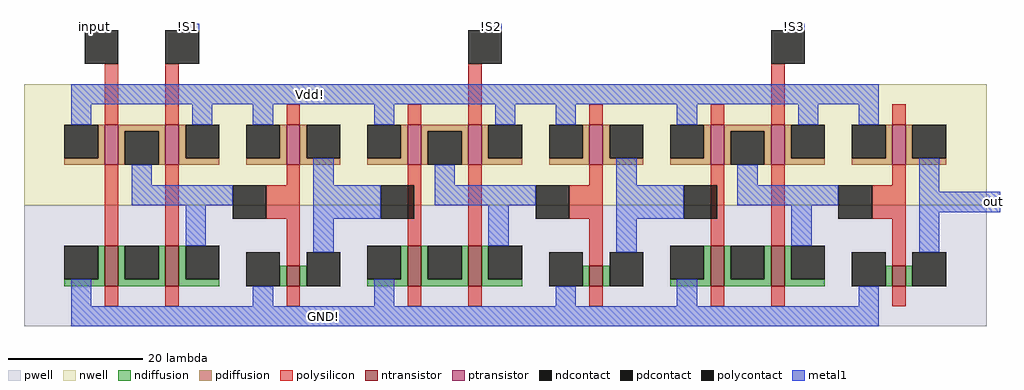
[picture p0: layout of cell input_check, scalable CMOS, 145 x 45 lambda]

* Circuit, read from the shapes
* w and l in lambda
.subckt input_check !S1 !S2 !S3 GND! Vdd! input out
M1 n1 input GND! VSUBS nfet w=6 l=2
M2 n2 !S1 n1 VSUBS nfet w=6 l=2
M3 n3 n2 GND! VSUBS nfet w=3 l=2
M4 n4 n3 GND! VSUBS nfet w=6 l=2
M5 n5 !S2 n4 VSUBS nfet w=6 l=2
M6 n6 n5 GND! VSUBS nfet w=3 l=2
M7 n7 n6 GND! VSUBS nfet w=6 l=2
M8 n8 !S3 n7 VSUBS nfet w=6 l=2
M9 out n8 GND! VSUBS nfet w=3 l=2
M10 n2 input Vdd! n9 pfet w=6 l=2
M11 Vdd! !S1 n2 n9 pfet w=6 l=2
M12 n3 n2 Vdd! n9 pfet w=6 l=2
M13 n5 n3 Vdd! n9 pfet w=6 l=2
M14 Vdd! !S2 n5 n9 pfet w=6 l=2
M15 n6 n5 Vdd! n9 pfet w=6 l=2
M16 n8 n6 Vdd! n9 pfet w=6 l=2
M17 Vdd! !S3 n8 n9 pfet w=6 l=2
M18 out n8 Vdd! n9 pfet w=6 l=2
.ends

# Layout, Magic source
magic
tech scmos
<< nwell >>
rect 31 33 40 36
<< pwell >>
rect 33 0 40 3
<< polysilicon >>
rect 12 30 14 39
rect 21 30 23 39
rect 66 30 68 39
rect 111 30 113 39
<< polycontact >>
rect 9 39 14 44
rect 21 39 26 44
rect 66 39 71 44
rect 111 39 116 44
rect 53 16 58 21
rect 98 16 103 21
<< metal1 >>
rect 9 44 12 45
rect 23 44 26 45
rect 68 44 71 45
rect 113 44 116 45
rect 31 33 106 36
rect 45 16 53 21
rect 91 16 98 21
rect 135 17 145 20
rect 33 0 110 3
use AND2  AND2_0
transform 1 0 7 0 1 10
box -7 -10 46 26
use AND2  AND2_1
transform 1 0 52 0 1 10
box -7 -10 46 26
use AND2  AND2_2
transform 1 0 97 0 1 10
box -7 -10 46 26
<< labels >>
rlabel metal1 33 33 52 36 1 Vdd!
rlabel metal1 35 0 54 3 5 GND!
rlabel metal1 143 17 145 20 3 out
rlabel metal1 113 44 116 45 1 !S3
rlabel metal1 68 44 71 45 1 !S2
rlabel metal1 23 44 26 45 1 !S1
rlabel metal1 9 44 12 45 1 input
<< end >>

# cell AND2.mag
magic
tech scmos
<< nwell >>
rect -7 8 46 26
<< pwell >>
rect -7 -10 46 8
<< ntransistor >>
rect 5 -4 7 2
rect 14 -4 16 2
rect 32 -4 34 -1
<< ptransistor >>
rect 5 14 7 20
rect 14 14 16 20
rect 32 14 34 20
<< ndiffusion >>
rect 4 -3 5 2
rect -1 -4 5 -3
rect 7 -3 8 2
rect 13 -3 14 2
rect 7 -4 14 -3
rect 16 -3 17 2
rect 16 -4 22 -3
rect 31 -4 32 -1
rect 34 -4 35 -1
<< pdiffusion >>
rect 4 15 5 20
rect -1 14 5 15
rect 7 19 14 20
rect 7 14 8 19
rect 13 14 14 19
rect 16 15 17 20
rect 16 14 22 15
rect 31 15 32 20
rect 26 14 32 15
rect 34 15 35 20
rect 34 14 40 15
<< ndcontact >>
rect -1 -3 4 2
rect 8 -3 13 2
rect 17 -3 22 2
rect 26 -4 31 1
rect 35 -4 40 1
<< pdcontact >>
rect -1 15 4 20
rect 8 14 13 19
rect 17 15 22 20
rect 26 15 31 20
rect 35 15 40 20
<< polysilicon >>
rect 5 20 7 23
rect 14 20 16 23
rect 32 20 34 23
rect 5 2 7 14
rect 14 2 16 14
rect 32 11 34 14
rect 29 6 34 11
rect 32 -1 34 6
rect 5 -7 7 -4
rect 14 -7 16 -4
rect 32 -7 34 -4
<< polycontact >>
rect 24 6 29 11
<< metal1 >>
rect 0 23 30 26
rect 0 20 3 23
rect 18 20 21 23
rect 27 20 30 23
rect 9 11 12 14
rect 9 8 24 11
rect 17 2 20 8
rect 36 1 39 15
rect 0 -7 3 -3
rect 27 -7 30 -4
rect 0 -10 30 -7
<< end >>
